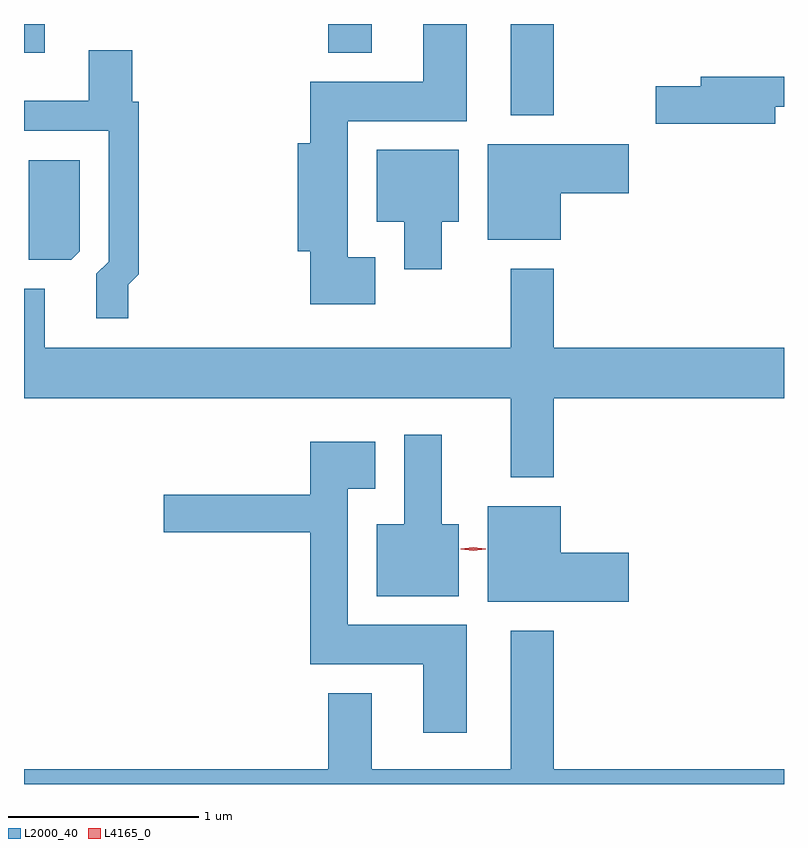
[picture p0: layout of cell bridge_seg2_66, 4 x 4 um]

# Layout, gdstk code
import gdstk
lib = gdstk.Library(unit=1e-6, precision=1e-09)
def R(c, l, rs):  # rectangles x0, y0, x1, y1
    for r in rs: c.add(gdstk.rectangle(r[:2], r[2:], *l))
def P(c, l, *ps):  # polygons
    for p in ps: c.add(gdstk.Polygon(p, *l))
L2000_40 = (2000, 40)
L4165_0 = (4165, 0)

bridge_seg2_66 = lib.new_cell('bridge_seg2_66')
R(bridge_seg2_66, L2000_40, [(1105.831,1069.786,1106.059,1070.267), (1103.27,1070.116,1103.379,1070.267), (1104.871,1070.116,1105.099,1070.267)])
P(bridge_seg2_66, L2000_40, [(1105.119,1069.039),(1104.974,1069.039),(1104.974,1069.756),(1105.599,1069.756),(1105.599,1070.267),(1105.371,1070.267),(1105.371,1069.964),(1104.776,1069.964),(1104.776,1069.639),(1104.711,1069.639),(1104.711,1069.071),(1104.776,1069.071),(1104.776,1068.791),(1105.119,1068.791)],
  [(1103.819,1068.894),(1103.874,1068.949),(1103.874,1069.859),(1103.839,1069.859),(1103.839,1070.129),(1103.611,1070.129),(1103.611,1069.864),(1103.27,1069.864),(1103.27,1069.706),(1103.716,1069.706),(1103.716,1069.017),(1103.651,1068.952),(1103.651,1068.718),(1103.819,1068.718)],
  [(1107.224,1069.831),(1107.27,1069.831),(1107.27,1069.989),(1106.831,1069.989),(1106.831,1069.939),(1106.596,1069.939),(1106.596,1069.741),(1107.224,1069.741)],
  [(1106.094,1069.376),(1106.454,1069.376),(1106.454,1069.634),(1105.711,1069.634),(1105.711,1069.131),(1106.094,1069.131)],
  [(1105.469,1069.226),(1105.559,1069.226),(1105.559,1069.604),(1105.126,1069.604),(1105.126,1069.226),(1105.271,1069.226),(1105.271,1068.976),(1105.469,1068.976)],
  [(1103.564,1069.072),(1103.564,1069.549),(1103.296,1069.549),(1103.296,1069.026),(1103.519,1069.026)],
  [(1106.059,1068.296),(1107.27,1068.296),(1107.27,1068.564),(1106.059,1068.564),(1106.059,1068.979),(1105.831,1068.979),(1105.831,1068.564),(1103.379,1068.564),(1103.379,1068.874),(1103.27,1068.874),(1103.27,1068.296),(1105.831,1068.296),(1105.831,1067.881),(1106.059,1067.881)],
  [(1105.559,1067.634),(1105.469,1067.634),(1105.469,1068.104),(1105.271,1068.104),(1105.271,1067.634),(1105.126,1067.634),(1105.126,1067.256),(1105.559,1067.256)],
  [(1105.599,1067.104),(1104.974,1067.104),(1104.974,1067.821),(1105.119,1067.821),(1105.119,1068.069),(1104.776,1068.069),(1104.776,1067.789),(1104.006,1067.789),(1104.006,1067.591),(1104.776,1067.591),(1104.776,1066.896),(1105.371,1066.896),(1105.371,1066.536),(1105.599,1066.536)],
  [(1106.454,1067.484),(1106.094,1067.484),(1106.094,1067.729),(1105.711,1067.729),(1105.711,1067.226),(1106.454,1067.226)],
  [(1107.27,1066.344),(1106.059,1066.344),(1106.059,1067.074),(1105.831,1067.074),(1105.831,1066.344),(1105.099,1066.344),(1105.099,1066.744),(1104.871,1066.744),(1104.871,1066.344),(1103.27,1066.344),(1103.27,1066.267),(1107.27,1066.267)])
P(bridge_seg2_66, L4165_0, [(1105.634,1067.494),(1105.569,1067.503),(1105.568,1067.504),(1105.569,1067.504),(1105.634,1067.514),(1105.7,1067.504),(1105.701,1067.504),(1105.7,1067.503)])

lib.write_gds('bridge_seg2_66.gds')
